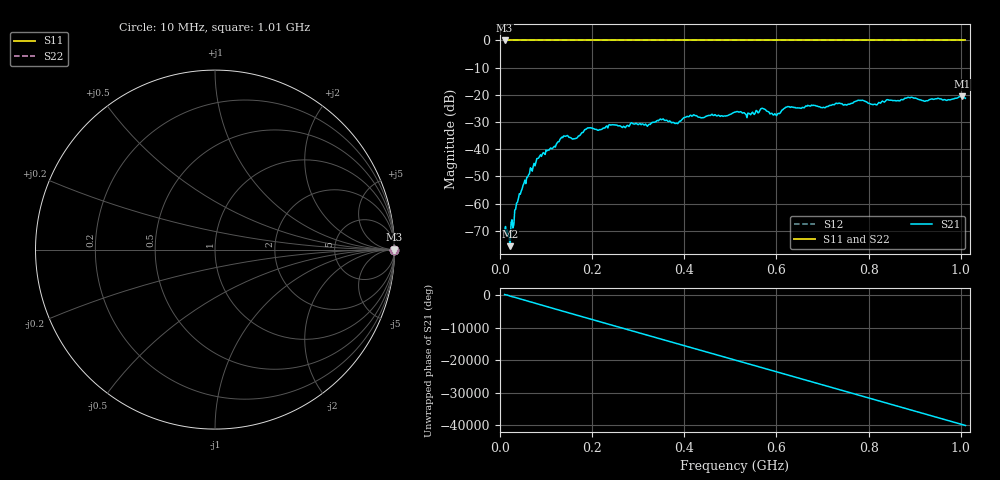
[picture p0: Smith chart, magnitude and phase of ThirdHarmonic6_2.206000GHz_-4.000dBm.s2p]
! 8/17/2025 2:17:06 AM
! C:\ANRITSUVNA\TEMP\TEMP.S2P
! CHANNEL.1
! TR.MEASUREMENT
! RAW.DATA
! RF.CORRECTION.OFF
! AVERAGING.OFF
! IF.BANDWIDTH: 5KHZ
! SWEEPTYPE:  FREQ.SWEEP(Linear)
! Reference Plane Port Info
! PORT:  PORT1  PORT2
! DISTANCE:  0  m  0  m
! TIME:  0  s  0  s
! PHASE.OFFSET:  0  deg.  0  deg.
! LOSS:  0  dB  0  dB
! REF.LOSS:  0  dB  0  dB
! REF.FREQ:  0  Hz  0  Hz
! Power Info
! POWER:  -20  dBm  -20  dBm
! EFF.POWER:  -20  dBm  -20  dBm
! SOURCE.ATTEN:  0  dB  0  dB
! TEST.ATTEN:  0  dB  0  dB
# GHZ S RI R 50.0
! FREQ.GHZ  S11RE  S11IM  S21RE  S21IM  S12RE  S12IM  S22RE  S22IM
!; PortSelection: Port_12
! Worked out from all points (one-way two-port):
!   501 points, 10 MHz to 1.01 GHz, reference 50 ohm
!   highest |S21| = -20.58 dB at 1.002 GHz (marker M1); lowest = -75.6 dB at 22 MHz (marker M2)
!   lowest |S11| = 0.0 dB at 10 MHz (marker M3)
!   |S11| at or under -10 dB: nowhere
!   |S22| runs from 0.0 to 0.0 dB; largest |S21 - S12| = 1.1
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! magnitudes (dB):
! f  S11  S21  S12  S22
! 10 MHz  0.0  -70.1  0.0  0.0
! 18 MHz  0.0  -71.5  0.0  0.0
! 22 MHz  0.0  -75.6  0.0  0.0
! 36 MHz  0.0  -59.8  0.0  0.0
! 50 MHz  0.0  -53.3  0.0  0.0
! 84 MHz  0.0  -43.2  0.0  0.0
! 136 MHz  0.0  -35.7  0.0  0.0
! 162 MHz  0.0  -36.2  0.0  0.0
! 178 MHz  0.0  -33.9  0.0  0.0
! 192 MHz  0.0  -32.1  0.0  0.0
! 344 MHz  0.0  -29.5  0.0  0.0
! 382 MHz  0.0  -30.4  0.0  0.0
! 416 MHz  0.0  -27.8  0.0  0.0
! 510 MHz  0.0  -26.4  0.0  0.0
! 540 MHz  0.0  -26.8  0.0  0.0
! 570 MHz  0.0  -25.0  0.0  0.0
! 596 MHz  0.0  -27.0  0.0  0.0
! 624 MHz  0.0  -24.3  0.0  0.0
! 678 MHz  0.0  -23.9  0.0  0.0
! 844 MHz  0.0  -21.9  0.0  0.0
! 1.002 GHz  0.0  -20.6  0.0  0.0
! 1.01 GHz  0.0  -21.2  0.0  0.0
